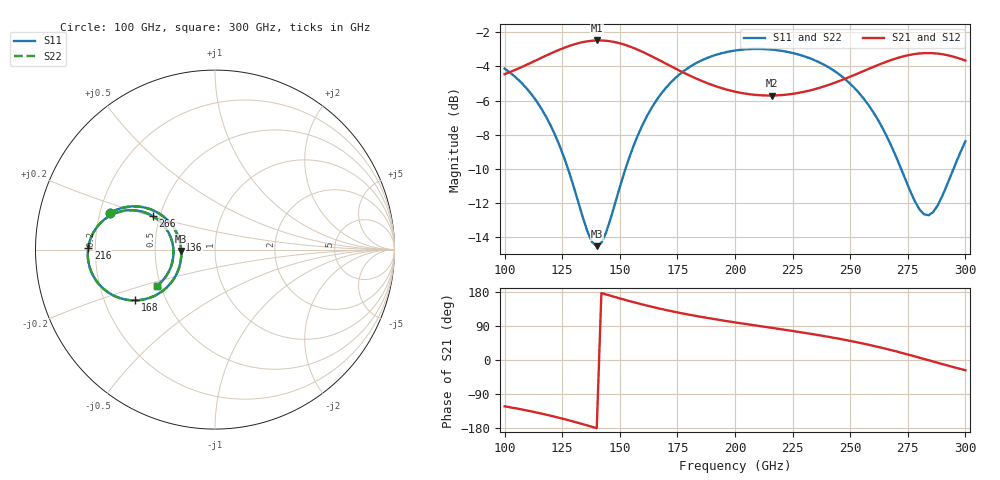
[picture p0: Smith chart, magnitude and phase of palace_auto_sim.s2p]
#  GHZ S DB R 50
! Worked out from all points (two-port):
!   101 points, 100 GHz to 300 GHz, reference 50 ohm
!   highest |S21| = -2.48 dB at 140 GHz (marker M1); lowest = -5.7 dB at 216 GHz (marker M2)
!   |S21| within 3 dB of the highest: start of sweep to 200.2 GHz; 230 GHz to end of sweep
!   lowest |S11| = -14.5 dB at 140 GHz (marker M3), VSWR 1.46, Z = 34.2 - j0.532 ohm
!   |S11| at or under -10 dB: 127.5 GHz to 152.5 GHz (24.93 GHz wide, 17.8 % of centre); 272.1 GHz to 294.8 GHz (22.69 GHz wide, 8 % of centre)
!   |S22| runs from -14.5 to -3.0 dB; largest |S21 - S12| = 9.1e-14
!   S11 on the Smith chart (normalised r, x): 100 GHz: 0.24, +0.16; 136 GHz: 0.66, +0.08; 168 GHz: 0.33, -0.26; 216 GHz: 0.17, +0.01; 266 GHz: 0.46, +0.20; 300 GHz: 0.48, -0.22
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100  -4.13 160.9  -4.46 -122.2  -4.46 -122.2  -4.13 160.9
110  -5.36 153.7  -3.88 -133.7  -3.88 -133.7  -5.36 153.7
118  -6.94 148.8  -3.37 -144.2  -3.37 -144.2  -6.94 148.9
126  -9.40 147.3  -2.91 -156.2  -2.91 -156.2  -9.40 147.4
134  -12.85 157.7  -2.58 -169.4  -2.58 -169.4  -12.86 157.7
136  -13.68 164.2  -2.53 -172.9  -2.53 -172.9  -13.68 164.2
140  -14.51 -177.7  -2.48 -179.9  -2.48 -179.9  -14.52 -177.7
144  -13.73 -159.4  -2.50 173.0  -2.50 173.0  -13.74 -159.3
154  -9.37 -141.9  -2.82 155.8  -2.82 155.8  -9.38 -141.9
160  -7.38 -142.7  -3.16 146.2  -3.16 146.2  -7.38 -142.6
168  -5.59 -147.5  -3.70 134.6  -3.70 134.6  -5.59 -147.4
184  -3.75 -159.4  -4.76 115.2  -4.76 115.2  -3.75 -159.3
200  -3.07 -170.6  -5.48 99.3  -5.48 99.3  -3.07 -170.5
216  -3.02 179.1  -5.70 84.8  -5.70 84.8  -3.02 179.2
234  -3.61 167.7  -5.36 67.9  -5.36 67.9  -3.61 167.7
252  -5.28 156.4  -4.49 48.0  -4.49 48.0  -5.28 156.5
266  -8.12 151.6  -3.72 28.8  -3.72 28.8  -8.12 151.8
268  -8.70 152.0  -3.62 25.7  -3.62 25.7  -8.69 152.1
278  -11.87 164.7  -3.28 9.6  -3.28 9.6  -11.86 164.9
284  -12.71 -176.4  -3.22 -0.6  -3.22 -0.6  -12.70 -176.3
288  -12.12 -163.6  -3.25 -7.4  -3.25 -7.4  -12.12 -163.6
300  -8.38 -148.1  -3.66 -27.0  -3.66 -27.0  -8.37 -148.0
